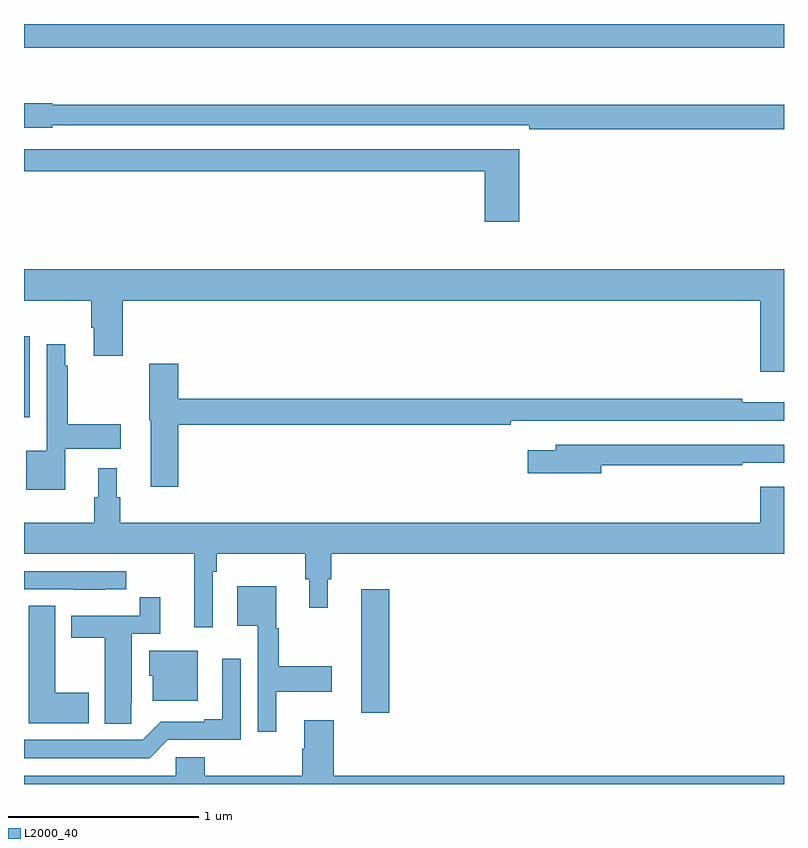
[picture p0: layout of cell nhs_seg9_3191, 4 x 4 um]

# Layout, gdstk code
import gdstk
lib = gdstk.Library(unit=1e-6, precision=1e-09)
def R(c, l, rs):  # rectangles x0, y0, x1, y1
    for r in rs: c.add(gdstk.rectangle(r[:2], r[2:], *l))
def P(c, l, *ps):  # polygons
    for p in ps: c.add(gdstk.Polygon(p, *l))
L2000_40 = (2000, 40)

nhs_seg9_3191 = lib.new_cell('nhs_seg9_3191')
R(nhs_seg9_3191, L2000_40, [(294.776,1236.876,294.923,1237.525), (293,1238.43,293.031,1238.856), (293,1240.376,297,1240.5)])
P(nhs_seg9_3191, L2000_40, [(297,1240.075),(293.148,1240.075),(293.148,1240.083),(293,1240.083),(293,1239.953),(293.148,1239.953),(293.148,1239.966),(295.66,1239.966),(295.66,1239.946),(297,1239.946)],
  [(295.607,1239.84),(293,1239.84),(293,1239.724),(295.424,1239.724),(295.424,1239.459),(295.607,1239.459)],
  [(297,1239.208),(293,1239.208),(293,1239.044),(293.354,1239.044),(293.354,1238.902),(293.366,1238.902),(293.366,1238.754),(293.519,1238.754),(293.519,1239.044),(296.876,1239.044),(296.876,1238.67),(297,1238.67)],
  [(293.218,1238.264),(293.509,1238.264),(293.509,1238.394),(293.23,1238.394),(293.23,1238.702),(293.218,1238.702),(293.218,1238.815),(293.121,1238.815),(293.121,1238.254),(293.012,1238.254),(293.012,1238.048),(293.218,1238.048)],
  [(293.813,1238.392),(295.562,1238.392),(295.562,1238.412),(297,1238.412),(297,1238.509),(296.78,1238.509),(296.78,1238.528),(293.813,1238.528),(293.813,1238.713),(293.659,1238.713),(293.659,1238.415),(293.666,1238.415),(293.666,1238.064),(293.813,1238.064)],
  [(296.038,1238.178),(296.78,1238.178),(296.78,1238.19),(297,1238.19),(297,1238.286),(295.799,1238.286),(295.799,1238.257),(295.65,1238.257),(295.65,1238.135),(296.038,1238.135)],
  [(293.994,1237.616),(294.014,1237.616),(294.014,1237.712),(294.481,1237.712),(294.481,1237.578),(294.5,1237.578),(294.5,1237.428),(294.598,1237.428),(294.598,1237.578),(294.617,1237.578),(294.617,1237.712),(297,1237.712),(297,1238.065),(296.876,1238.065),(296.876,1237.876),(293.507,1237.876),(293.507,1238.01),(293.488,1238.01),(293.488,1238.161),(293.39,1238.161),(293.39,1238.01),(293.371,1238.01),(293.371,1237.876),(293,1237.876),(293,1237.712),(293.897,1237.712),(293.897,1237.326),(293.994,1237.326)],
  [(293.426,1237.524),(293.539,1237.524),(293.539,1237.62),(293,1237.62),(293,1237.524),(293.26,1237.524),(293.26,1237.523),(293.426,1237.523)],
  [(294.328,1236.986),(294.619,1236.986),(294.619,1237.121),(294.34,1237.121),(294.34,1237.32),(294.328,1237.32),(294.328,1237.54),(294.122,1237.54),(294.122,1237.334),(294.231,1237.334),(294.231,1236.774),(294.328,1236.774)],
  [(293.565,1236.928),(293.566,1236.928),(293.566,1237.29),(293.717,1237.29),(293.717,1237.483),(293.608,1237.483),(293.608,1237.386),(293.249,1237.386),(293.249,1237.27),(293.426,1237.27),(293.426,1236.817),(293.565,1236.817)],
  [(293.341,1236.981),(293.164,1236.981),(293.164,1237.439),(293.025,1237.439),(293.025,1237.331),(293.024,1237.331),(293.024,1236.821),(293.341,1236.821)],
  [(293.914,1237.201),(293.66,1237.201),(293.66,1237.071),(293.678,1237.071),(293.678,1236.938),(293.914,1236.938)],
  [(293.757,1236.732),(294.141,1236.732),(294.141,1237.159),(294.044,1237.159),(294.044,1236.841),(293.948,1236.841),(293.948,1236.828),(293.721,1236.828),(293.625,1236.732),(293,1236.732),(293,1236.636),(293.661,1236.636)],
  [(297,1236.544),(294.629,1236.544),(294.629,1236.835),(294.476,1236.835),(294.476,1236.686),(294.464,1236.686),(294.464,1236.544),(293.951,1236.544),(293.951,1236.642),(293.799,1236.642),(293.799,1236.544),(293,1236.544),(293,1236.5),(297,1236.5)])

lib.write_gds('nhs_seg9_3191.gds')
